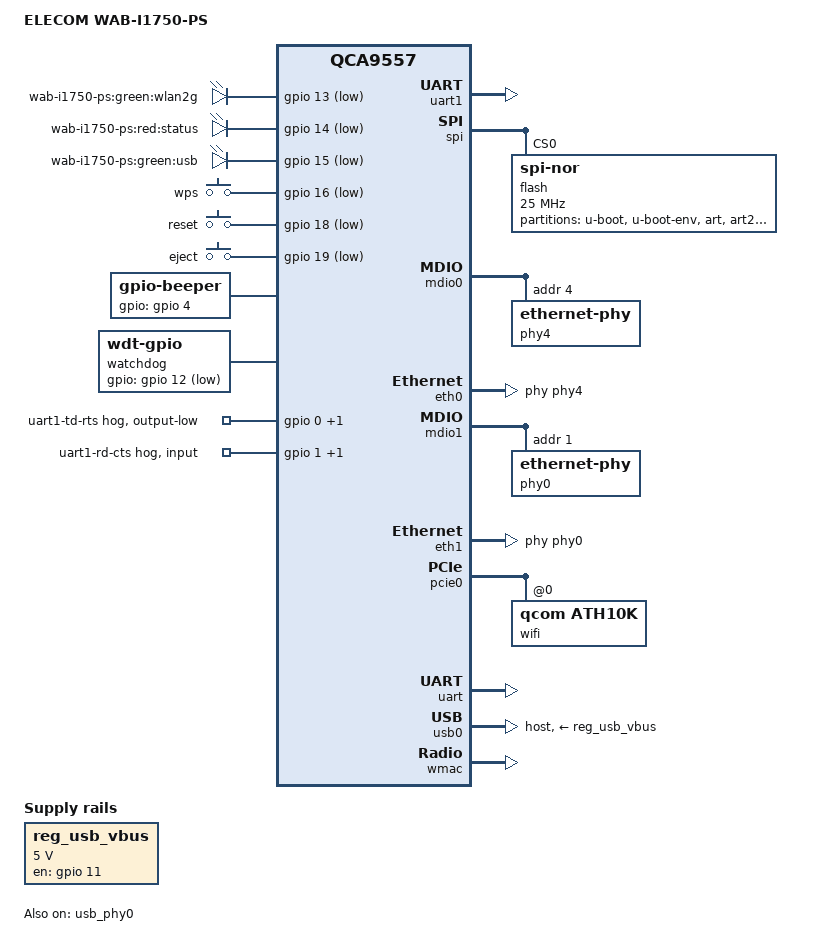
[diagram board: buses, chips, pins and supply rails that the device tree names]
// SPDX-License-Identifier: GPL-2.0-or-later OR MIT
/dts-v1/;

#include <dt-bindings/gpio/gpio.h>
#include <dt-bindings/input/input.h>

#include "qca955x.dtsi"

/ {
	compatible = "elecom,wab-i1750-ps", "qca,qca9557";
	model = "ELECOM WAB-I1750-PS";

	aliases {
		serial1 = &uart1;
		led-boot = &led_status;
		led-failsafe = &led_status;
		led-upgrade = &led_status;
	};

	chosen {
		bootargs = "console=ttyS0,115200n8 console=ttyATH1,115200n8";
	};

	leds {
		compatible = "gpio-leds";

		wlan2g {
			label = "wab-i1750-ps:green:wlan2g";
			gpios = <&gpio 13 GPIO_ACTIVE_LOW>;
			linux,default-trigger = "phy1tpt";
		};

		led_status: status {
			label = "wab-i1750-ps:red:status";
			gpios = <&gpio 14 GPIO_ACTIVE_LOW>;
		};

		usb {
			label = "wab-i1750-ps:green:usb";
			gpios = <&gpio 15 GPIO_ACTIVE_LOW>;
			trigger-sources = <&hub_port>;
			linux,default-trigger = "usbport";
		};
	};

	keys {
		compatible = "gpio-keys";

		wps {
			label = "wps";
			gpios = <&gpio 16 GPIO_ACTIVE_LOW>;
			linux,code = <KEY_WPS_BUTTON>;
			debounce-interval = <60>;
		};

		reset {
			label = "reset";
			gpios = <&gpio 18 GPIO_ACTIVE_LOW>;
			linux,code = <KEY_RESTART>;
			debounce-interval = <60>;
		};

		eject {
			label = "eject";
			gpios = <&gpio 19 GPIO_ACTIVE_LOW>;
			linux,code = <KEY_EJECTCD>;
			debounce-interval = <60>;
		};
	};

	beeper {
		compatible = "gpio-beeper";
		gpios = <&gpio 4 GPIO_ACTIVE_HIGH>;
	};

	reg_usb_vbus: regulator {
		compatible = "regulator-fixed";
		regulator-name = "usb_vbus";
		regulator-min-microvolt = <5000000>;
		regulator-max-microvolt = <5000000>;
		gpio = <&gpio 11 GPIO_ACTIVE_HIGH>;
		enable-active-high;
		regulator-always-on;
	};

	watchdog {
		compatible = "linux,wdt-gpio";
		gpios = <&gpio 12 GPIO_ACTIVE_LOW>;
		hw_algo = "toggle";
		hw_margin_ms = <300>;
		always-running;
	};

	ahb {
		apb {
			uart1: uart@18500000 {
				compatible = "qca,ar9330-uart";
				reg = <0x18500000 0x14>;

				pinctrl-names = "default";
				pinctrl-0 = <&pinmux_uart1 &jtag_disable_pins>;

				interrupts = <6>;
				interrupt-parent = <&miscintc>;

				clocks = <&pll ATH79_CLK_UART1>;
				clock-names = "uart";
			};
		};
	};
};

&spi {
	status = "okay";

	num-cs = <1>;

	flash@0 {
		compatible = "jedec,spi-nor";
		reg = <0>;
		spi-max-frequency = <25000000>;

		partitions {
			compatible = "fixed-partitions";
			#address-cells = <1>;
			#size-cells = <1>;

			partition@0 {
				label = "u-boot";
				reg = <0x000000 0x040000>;
				read-only;
			};

			partition@40000 {
				label = "u-boot-env";
				reg = <0x040000 0x010000>;
				read-only;
			};

			partition@50000 {
				label = "art";
				reg = <0x050000 0x010000>;
				read-only;
			};

			partition@60000 {
				label = "art2";
				reg = <0x060000 0x010000>;
				read-only;
			};

			partition@70000 {
				compatible = "denx,uimage";
				label = "firmware";
				reg = <0x070000 0xe00000>;
			};

			partition@e70000 {
				label = "manufacture";
				reg = <0xe70000 0x100000>;
				read-only;
			};

			partition@f70000 {
				label = "backup";
				reg = <0xf70000 0x010000>;
				read-only;
			};

			partition@f80000 {
				label = "storage";
				reg = <0xf80000 0x080000>;
				read-only;
			};
		};
	};
};

&mdio0 {
	status = "okay";

	phy4: ethernet-phy@4 {
		reg = <4>;
		eee-broken-100tx;
		eee-broken-1000t;
	};
};

&eth0 {
	status = "okay";

	phy-handle = <&phy4>;
	pll-data = <0xa6000000 0x80000101 0x80001313>;

	gmac_config: gmac-config {
		device = <&gmac>;

		rxdv-delay = <0>;
		rxd-delay = <0>;
		txen-delay = <0>;
		txd-delay = <0>;
		rgmii-enabled = <1>;
	};
};

&mdio1 {
	status = "okay";

	phy0: ethernet-phy@1 {
		reg = <1>;
		at803x-override-sgmii-link-check;
	};
};

&eth1 {
	status = "okay";

	phy-handle = <&phy0>;
	pll-data = <0x03000000 0x00000101 0x00001313>;

	qca955x-sgmii-fixup;
};

&pcie0 {
	status = "okay";

	wifi@0,0 {
		compatible = "qcom,ath10k";
		reg = <0x0000 0 0 0 0>;
	};
};

&gpio {
	/*
	 * U-Boot doesn't configure uart1, configuring GPIO_OE is needed for
	 * four pins of uart1 (0-TD/2-RTS: OUT, 1-RD/3-CTS: IN)
	 */
	uart1_out {
		gpio-hog;
		gpios = <0 GPIO_ACTIVE_HIGH>,
			<2 GPIO_ACTIVE_HIGH>;
		output-low;
		line-name = "uart1-td-rts";
	};

	uart1_in {
		gpio-hog;
		gpios = <1 GPIO_ACTIVE_HIGH>,
			<3 GPIO_ACTIVE_HIGH>;
		input;
		line-name = "uart1-rd-cts";
	};
};

&pinmux {
	pinmux_uart1: uart1 {
		// UART1_TD on GPIO 0, UART1_RD on GPIO 1,
		// UART1_RTS on GPIO 2, UART1_CTS on GPIO 3
		pinctrl-single,bits = <0x0 0x130012 0xff00ff>,
				<0x3c 0x3010000 0xffff0000>;
	};
};

&uart {
	status = "okay";
};

&usb_phy0 {
	status = "okay";
};

&usb0 {
	#address-cells = <1>;
	#size-cells = <0>;
	status = "okay";

	dr_mode = "host";
	vbus-supply = <&reg_usb_vbus>;

	hub_port: port@1 {
		reg = <1>;
		#trigger-source-cells = <0>;
	};
};

&wdt {
	status = "disabled";
};

&wmac {
	status = "okay";

	qca,no-eeprom;
};
